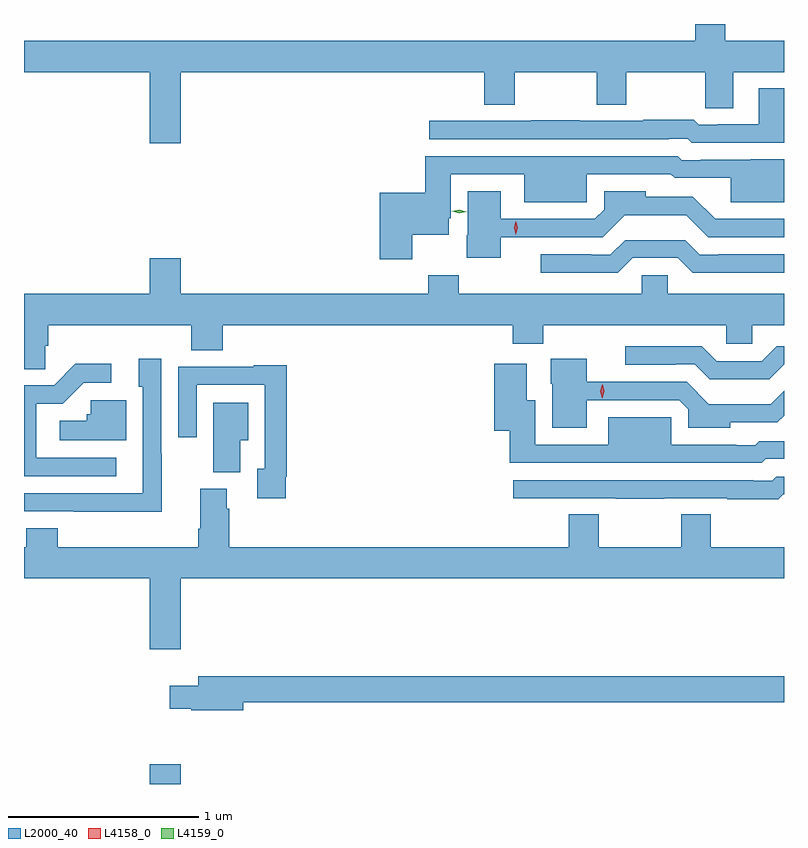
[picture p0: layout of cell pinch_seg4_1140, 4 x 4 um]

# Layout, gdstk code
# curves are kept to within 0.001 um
import gdstk
lib = gdstk.Library(unit=1e-6, precision=1e-09)
def R(c, l, rs):  # rectangles x0, y0, x1, y1
    for r in rs: c.add(gdstk.rectangle(r[:2], r[2:], *l))
def P(c, l, *ps):  # polygons
    for p in ps: c.add(gdstk.Polygon(p, *l))
L2000_40 = (2000, 40)
L4158_0 = (4158, 0)
L4159_0 = (4159, 0)

pinch_seg4_1140 = lib.new_cell('pinch_seg4_1140')
R(pinch_seg4_1140, L2000_40, [(440.732,758.441,440.896,758.545)])
P(pinch_seg4_1140, L2000_40, [(440.896,762.188),(442.493,762.188),(442.493,762.016),(442.653,762.016),(442.653,762.188),(443.086,762.188),(443.086,762.016),(443.241,762.016),(443.241,762.188),(443.656,762.188),(443.656,761.998),(443.803,761.998),(443.803,762.188),(444.071,762.188),(444.071,762.352),(443.763,762.352),(443.763,762.441),(443.603,762.441),(443.603,762.352),(440.071,762.352),(440.071,762.188),(440.732,762.188),(440.732,761.814),(440.896,761.814)],
  [(444.071,762.103),(443.939,762.103),(443.939,761.913),(443.722,761.913),(443.722,761.91),(443.622,761.91),(443.596,761.936),(443.329,761.936),(443.329,761.931),(442.997,761.931),(442.997,761.934),(442.741,761.934),(442.741,761.931),(442.203,761.931),(442.203,761.835),(443.465,761.835),(443.465,761.838),(443.565,761.838),(443.586,761.817),(444.071,761.817)],
  [(442.114,761.333),(442.306,761.333),(442.306,761.418),(442.318,761.418),(442.318,761.649),(442.703,761.649),(442.703,761.504),(443.034,761.504),(443.034,761.649),(443.375,761.649),(443.375,761.651),(443.476,761.651),(443.496,761.631),(443.792,761.631),(443.792,761.504),(444.071,761.504),(444.071,761.728),(443.632,761.727),(443.632,761.724),(443.532,761.724),(443.511,761.745),(442.184,761.745),(442.184,761.554),(441.944,761.554),(441.944,761.202),(442.114,761.202)],
  [(442.579,761.319),(443.116,761.319),(443.232,761.435),(443.557,761.435),(443.673,761.319),(444.071,761.319),(444.071,761.415),(443.709,761.415),(443.592,761.532),(443.343,761.532),(443.343,761.56),(443.124,761.56),(443.124,761.463),(443.076,761.415),(442.579,761.415),(442.579,761.56),(442.406,761.56),(442.406,761.328),(442.4,761.328),(442.4,761.21),(442.579,761.21)],
  [(443.274,761.211),(443.511,761.211),(443.59,761.132),(444.071,761.133),(444.071,761.229),(443.728,761.229),(443.728,761.226),(443.628,761.226),(443.55,761.304),(443.235,761.304),(443.157,761.226),(443.057,761.226),(443.057,761.229),(442.791,761.229),(442.791,761.132),(443.195,761.132)],
  [(440.896,761.209),(440.732,761.209),(440.732,761.02),(440.071,761.02),(440.071,760.624),(440.184,760.624),(440.184,760.747),(440.198,760.747),(440.198,760.856),(440.951,760.856),(440.951,760.723),(441.116,760.723),(441.116,760.856),(442.643,760.856),(442.643,760.757),(442.803,760.757),(442.803,760.856),(443.766,760.856),(443.766,760.758),(443.904,760.758),(443.904,760.856),(444.071,760.856),(444.071,761.02),(443.46,761.02),(443.46,761.118),(443.322,761.118),(443.322,761.02),(442.359,761.02),(442.359,761.119),(442.199,761.119),(442.199,761.02),(440.896,761.02)],
  [(444.071,760.649),(444.071,760.744),(444.034,760.744),(443.955,760.665),(443.718,760.665),(443.639,760.744),(443.235,760.744),(443.235,760.647),(443.501,760.647),(443.501,760.65),(443.601,760.65),(443.679,760.572),(443.994,760.572)],
  [(440.795,760.178),(440.793,760.178),(440.793,760.678),(440.675,760.678),(440.675,760.533),(440.697,760.533),(440.697,759.972),(440.071,759.972),(440.071,759.876),(440.332,759.876),(440.332,759.875),(440.795,759.875)],
  [(443.032,760.461),(443.52,760.461),(443.568,760.413),(443.568,760.316),(443.787,760.316),(443.787,760.344),(444.036,760.344),(444.071,760.379),(444.071,760.511),(444.001,760.441),(443.676,760.441),(443.56,760.557),(443.032,760.557),(443.032,760.678),(442.844,760.678),(442.844,760.548),(442.85,760.548),(442.85,760.316),(443.032,760.316)],
  [(443.976,760.152),(444.071,760.152),(444.071,760.245),(443.94,760.245),(443.92,760.225),(443.819,760.225),(443.819,760.227),(443.478,760.227),(443.478,760.372),(443.147,760.372),(443.147,760.227),(442.762,760.227),(442.762,760.462),(442.717,760.462),(442.717,760.654),(442.547,760.654),(442.547,760.301),(442.628,760.301),(442.628,760.131),(443.955,760.131)],
  [(440.557,760.158),(440.136,760.158),(440.136,760.443),(440.274,760.443),(440.385,760.554),(440.53,760.554),(440.53,760.652),(440.342,760.652),(440.229,760.539),(440.071,760.539),(440.071,760.062),(440.557,760.062)],
  [(441.448,760.057),(441.455,760.057),(441.455,760.645),(441.279,760.645),(441.279,760.638),(440.883,760.638),(440.883,760.266),(440.979,760.266),(440.979,760.542),(441.339,760.542),(441.339,760.101),(441.299,760.101),(441.299,759.945),(441.448,759.945)],
  [(440.608,760.461),(440.421,760.461),(440.421,760.386),(440.402,760.386),(440.402,760.354),(440.259,760.354),(440.259,760.25),(440.608,760.25)],
  [(441.208,760.25),(441.25,760.25),(441.25,760.447),(441.068,760.447),(441.068,760.081),(441.208,760.081)],
  [(444.066,759.966),(444.071,759.966),(444.071,760.059),(444.03,760.059),(444.009,760.038),(443.909,760.038),(443.909,760.041),(442.647,760.041),(442.647,759.945),(443.185,759.945),(443.185,759.943),(443.441,759.943),(443.441,759.945),(443.773,759.945),(443.773,759.94),(444.04,759.94)],
  [(440.896,759.524),(444.071,759.524),(444.071,759.688),(443.685,759.688),(443.685,759.86),(443.53,759.86),(443.53,759.688),(443.097,759.688),(443.097,759.86),(442.937,759.86),(442.937,759.688),(441.152,759.688),(441.152,759.89),(441.139,759.89),(441.139,759.996),(440.999,759.996),(440.999,759.784),(440.987,759.784),(440.987,759.688),(440.249,759.688),(440.249,759.787),(440.084,759.787),(440.084,759.688),(440.071,759.688),(440.071,759.524),(440.732,759.524),(440.732,759.15),(440.896,759.15)],
  [(441.226,758.872),(444.071,758.872),(444.071,759.008),(440.987,759.008),(440.987,758.959),(440.838,758.959),(440.838,758.837),(440.95,758.837),(440.95,758.83),(441.226,758.83)])
P(pinch_seg4_1140, L4158_0, [(443.114,760.472),(443.114,760.472),(443.105,760.507),(443.115,760.543),(443.115,760.543),(443.116,760.543),(443.125,760.507),(443.115,760.472)],
  [(442.66,761.333),(442.66,761.334),(442.65,761.369),(442.66,761.404),(442.66,761.404),(442.66,761.404),(442.67,761.369),(442.66,761.334)])
P(pinch_seg4_1140, L4159_0, [(442.361,761.444),(442.321,761.455),(442.321,761.455),(442.321,761.455),(442.362,761.464),(442.402,761.452),(442.402,761.452),(442.402,761.452)])

lib.write_gds('pinch_seg4_1140.gds')
